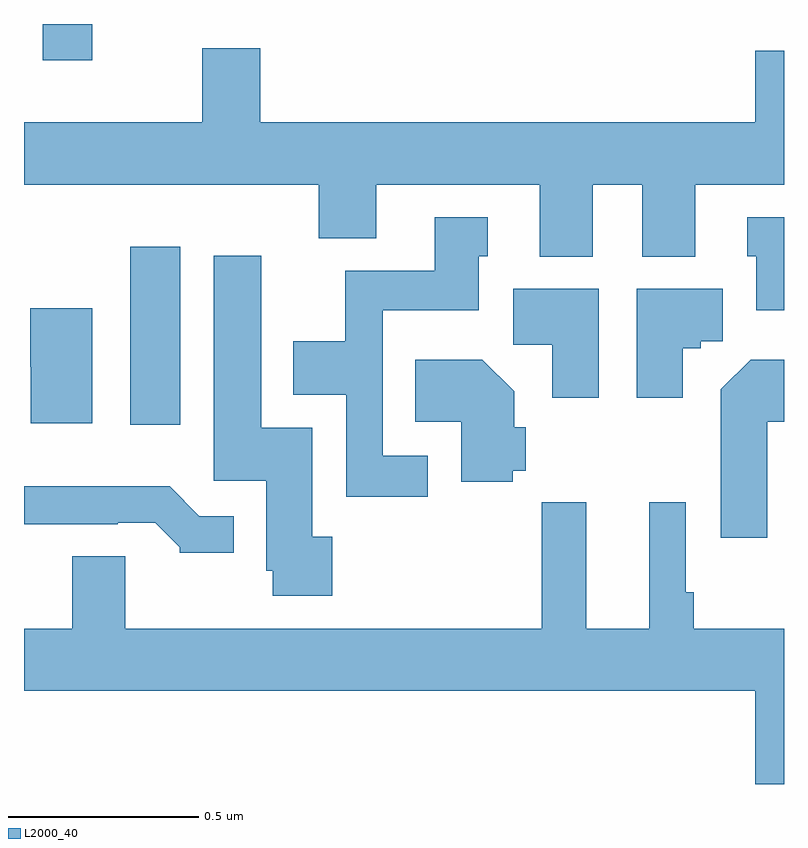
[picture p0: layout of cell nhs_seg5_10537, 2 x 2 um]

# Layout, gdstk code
import gdstk
lib = gdstk.Library(unit=1e-6, precision=1e-09)
def R(c, l, rs):  # rectangles x0, y0, x1, y1
    for r in rs: c.add(gdstk.rectangle(r[:2], r[2:], *l))
def P(c, l, *ps):  # polygons
    for p in ps: c.add(gdstk.Polygon(p, *l))
L2000_40 = (2000, 40)

nhs_seg5_10537 = lib.new_cell('nhs_seg5_10537')
R(nhs_seg5_10537, L2000_40, [(247.28,906.744,247.411,907.213), (247.049,907.704,247.18,907.799)])
P(nhs_seg5_10537, L2000_40, [(248.497,907.376),(248.627,907.376),(248.627,907.187),(248.767,907.187),(248.767,907.376),(249,907.376),(249,907.729),(248.924,907.729),(248.924,907.54),(247.622,907.54),(247.622,907.735),(247.469,907.735),(247.469,907.54),(247,907.54),(247,907.376),(247.775,907.376),(247.775,907.235),(247.927,907.235),(247.927,907.376),(248.357,907.376),(248.357,907.187),(248.497,907.187)],
  [(248.062,906.663),(247.944,906.663),(247.944,907.046),(248.197,907.046),(248.197,907.188),(248.221,907.188),(248.221,907.291),(248.081,907.291),(248.081,907.15),(247.846,907.15),(247.846,906.964),(247.709,906.964),(247.709,906.824),(247.848,906.824),(247.848,906.555),(248.062,906.555)],
  [(249,907.291),(248.903,907.291),(248.903,907.188),(248.927,907.188),(248.927,907.046),(249,907.046)],
  [(247.811,906.45),(247.759,906.45),(247.759,906.736),(247.624,906.736),(247.624,907.189),(247.499,907.189),(247.499,906.597),(247.637,906.597),(247.637,906.36),(247.654,906.36),(247.654,906.294),(247.811,906.294)],
  [(248.734,906.946),(248.781,906.946),(248.781,906.964),(248.839,906.964),(248.839,907.102),(248.612,907.102),(248.612,906.816),(248.734,906.816)],
  [(248.512,907.102),(248.288,907.102),(248.288,906.955),(248.39,906.955),(248.39,906.816),(248.512,906.816)],
  [(247.18,907.051),(247.016,907.051),(247.016,906.897),(247.018,906.897),(247.018,906.749),(247.18,906.749)],
  [(248.286,906.624),(248.321,906.624),(248.321,906.738),(248.29,906.738),(248.29,906.832),(248.206,906.916),(248.029,906.916),(248.029,906.752),(248.15,906.752),(248.15,906.595),(248.286,906.595)],
  [(248.956,906.752),(249,906.752),(249,906.916),(248.912,906.916),(248.834,906.838),(248.834,906.447),(248.956,906.447)],
  [(247.552,906.504),(247.461,906.504),(247.383,906.583),(247,906.583),(247,906.483),(247.247,906.483),(247.247,906.486),(247.346,906.486),(247.41,906.422),(247.41,906.407),(247.552,906.407)],
  [(249,906.208),(248.762,906.208),(248.762,906.304),(248.742,906.304),(248.742,906.541),(248.645,906.541),(248.645,906.208),(248.479,906.208),(248.479,906.541),(248.362,906.541),(248.362,906.208),(247.267,906.208),(247.267,906.398),(247.127,906.398),(247.127,906.208),(247,906.208),(247,906.044),(248.924,906.044),(248.924,905.799),(249,905.799)])

lib.write_gds('nhs_seg5_10537.gds')
